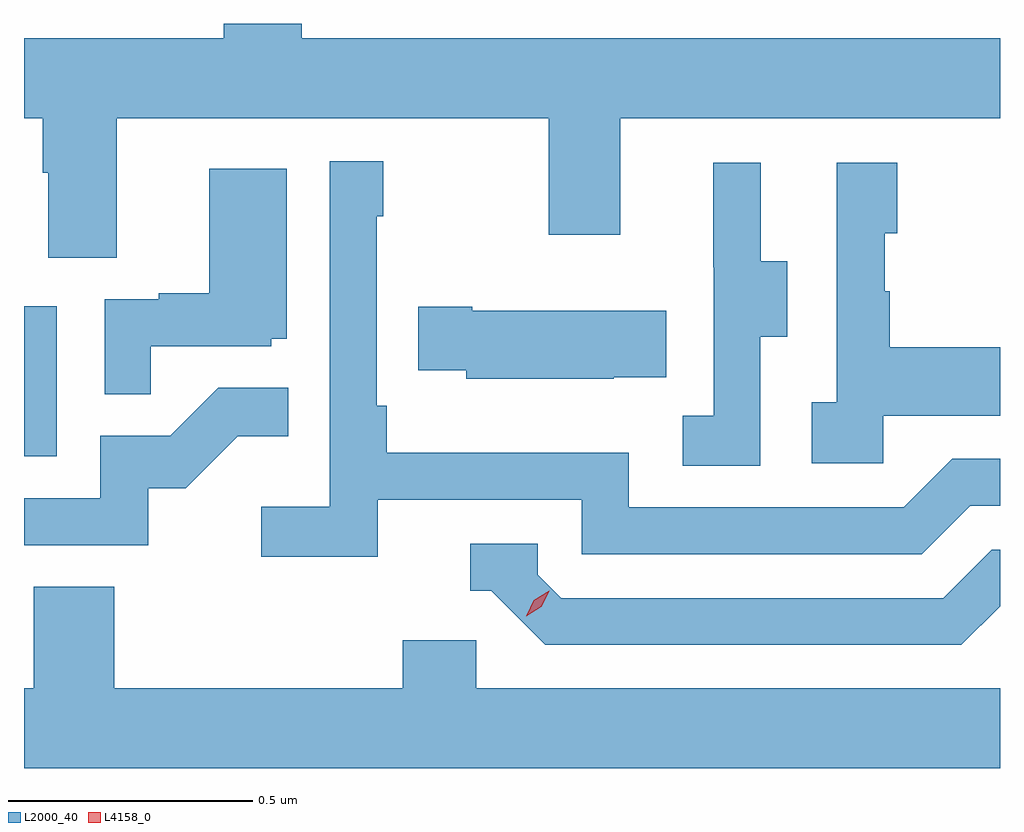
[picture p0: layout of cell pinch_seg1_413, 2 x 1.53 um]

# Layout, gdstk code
import gdstk
lib = gdstk.Library(unit=1e-6, precision=1e-09)
def R(c, l, rs):  # rectangles x0, y0, x1, y1
    for r in rs: c.add(gdstk.rectangle(r[:2], r[2:], *l))
def P(c, l, *ps):  # polygons
    for p in ps: c.add(gdstk.Polygon(p, *l))
L2000_40 = (2000, 40)
L4158_0 = (4158, 0)

pinch_seg1_413 = lib.new_cell('pinch_seg1_413')
R(pinch_seg1_413, L2000_40, [(925.101,533.724,925.168,534.031)])
P(pinch_seg1_413, L2000_40, [(925.291,534.416),(926.176,534.416),(926.176,534.177),(926.323,534.177),(926.323,534.416),(927.101,534.416),(927.101,534.58),(925.67,534.58),(925.67,534.61),(925.51,534.61),(925.51,534.58),(925.101,534.58),(925.101,534.416),(925.139,534.416),(925.139,534.304),(925.151,534.304),(925.151,534.13),(925.291,534.13)],
  [(925.826,533.634),(926.244,533.634),(926.244,533.523),(926.941,533.523),(927.04,533.622),(927.101,533.622),(927.101,533.718),(927.003,533.718),(926.904,533.619),(926.34,533.619),(926.34,533.731),(925.844,533.731),(925.844,533.827),(925.824,533.827),(925.824,534.215),(925.837,534.215),(925.837,534.328),(925.728,534.328),(925.728,533.62),(925.587,533.62),(925.587,533.518),(925.826,533.518)],
  [(926.862,533.807),(927.101,533.807),(927.101,533.947),(926.875,533.947),(926.875,534.062),(926.865,534.062),(926.865,534.18),(926.89,534.18),(926.89,534.325),(926.766,534.325),(926.766,533.834),(926.715,533.834),(926.715,533.709),(926.862,533.709)],
  [(926.61,533.968),(926.665,533.968),(926.665,534.123),(926.611,534.123),(926.611,534.325),(926.513,534.325),(926.513,534.111),(926.514,534.111),(926.514,533.807),(926.451,533.807),(926.451,533.704),(926.61,533.704)],
  [(925.361,533.949),(925.608,533.949),(925.608,533.964),(925.639,533.964),(925.639,534.313),(925.481,534.313),(925.481,534.058),(925.377,534.058),(925.377,534.045),(925.266,534.045),(925.266,533.851),(925.361,533.851)],
  [(926.309,533.885),(926.417,533.885),(926.417,534.022),(926.02,534.022),(926.02,534.03),(925.909,534.03),(925.909,533.9),(926.007,533.9),(926.007,533.882),(926.309,533.882)],
  [(925.356,533.658),(925.432,533.658),(925.539,533.765),(925.643,533.765),(925.643,533.864),(925.499,533.864),(925.401,533.766),(925.257,533.766),(925.257,533.637),(925.101,533.637),(925.101,533.541),(925.356,533.541)],
  [(927.101,533.416),(927.101,533.532),(927.084,533.532),(926.985,533.433),(926.202,533.433),(926.154,533.481),(926.154,533.544),(926.015,533.544),(926.015,533.448),(926.058,533.448),(926.169,533.337),(927.022,533.337)],
  [(927.101,533.248),(926.028,533.248),(926.028,533.346),(925.877,533.346),(925.877,533.248),(925.286,533.248),(925.286,533.456),(925.121,533.456),(925.121,533.248),(925.101,533.248),(925.101,533.084),(927.101,533.084)])
P(pinch_seg1_413, L4158_0, [(926.13,533.396),(926.13,533.396),(926.146,533.428),(926.177,533.448),(926.177,533.448),(926.177,533.447),(926.161,533.415),(926.13,533.396)])

lib.write_gds('pinch_seg1_413.gds')
